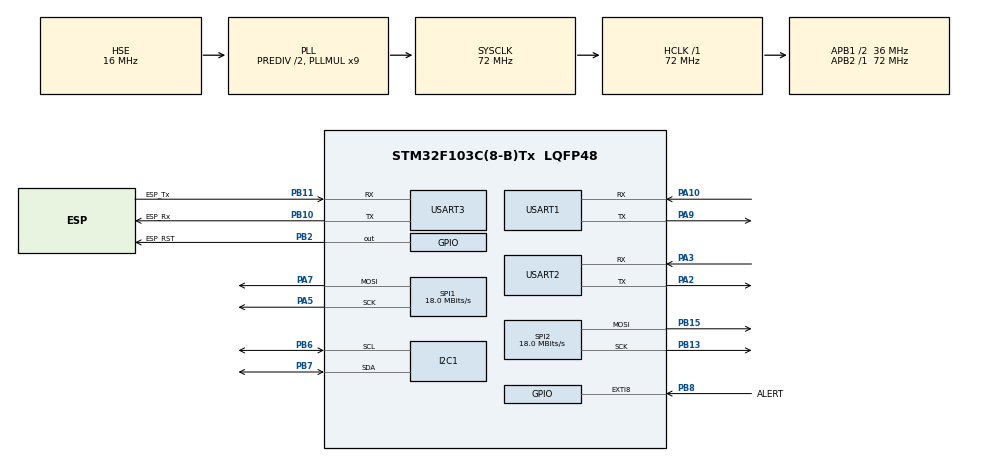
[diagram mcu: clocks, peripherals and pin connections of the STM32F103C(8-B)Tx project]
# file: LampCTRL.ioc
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Dma.Request0=USART3_RX
Dma.Request1=USART3_TX
Dma.Request2=USART2_RX
Dma.Request3=USART1_RX
Dma.USART1_RX.3.Direction=DMA_PERIPH_TO_MEMORY
Dma.USART1_RX.3.Instance=DMA1_Channel5
Dma.USART1_RX.3.MemDataAlignment=DMA_MDATAALIGN_BYTE
Dma.USART1_RX.3.MemInc=DMA_MINC_ENABLE
Dma.USART1_RX.3.Mode=DMA_CIRCULAR
Dma.USART1_RX.3.PeriphDataAlignment=DMA_PDATAALIGN_BYTE
Dma.USART1_RX.3.PeriphInc=DMA_PINC_DISABLE
Dma.USART1_RX.3.Priority=DMA_PRIORITY_LOW
Dma.USART2_RX.2.Direction=DMA_PERIPH_TO_MEMORY
Dma.USART2_RX.2.Instance=DMA1_Channel6
Dma.USART2_RX.2.MemDataAlignment=DMA_MDATAALIGN_BYTE
Dma.USART2_RX.2.MemInc=DMA_MINC_ENABLE
Dma.USART2_RX.2.Mode=DMA_NORMAL
Dma.USART2_RX.2.PeriphDataAlignment=DMA_PDATAALIGN_BYTE
Dma.USART2_RX.2.PeriphInc=DMA_PINC_DISABLE
Dma.USART2_RX.2.Priority=DMA_PRIORITY_LOW
Dma.USART3_RX.0.Direction=DMA_PERIPH_TO_MEMORY
Dma.USART3_RX.0.Instance=DMA1_Channel3
Dma.USART3_RX.0.MemDataAlignment=DMA_MDATAALIGN_BYTE
Dma.USART3_RX.0.MemInc=DMA_MINC_ENABLE
Dma.USART3_RX.0.Mode=DMA_NORMAL
Dma.USART3_RX.0.PeriphDataAlignment=DMA_PDATAALIGN_BYTE
Dma.USART3_RX.0.PeriphInc=DMA_PINC_DISABLE
Dma.USART3_RX.0.Priority=DMA_PRIORITY_LOW
Dma.USART3_TX.1.Direction=DMA_MEMORY_TO_PERIPH
Dma.USART3_TX.1.Instance=DMA1_Channel2
Dma.USART3_TX.1.MemDataAlignment=DMA_MDATAALIGN_BYTE
Dma.USART3_TX.1.MemInc=DMA_MINC_ENABLE
Dma.USART3_TX.1.Mode=DMA_NORMAL
Dma.USART3_TX.1.PeriphDataAlignment=DMA_PDATAALIGN_BYTE
Dma.USART3_TX.1.PeriphInc=DMA_PINC_DISABLE
Dma.USART3_TX.1.Priority=DMA_PRIORITY_LOW
I2C1.I2C_Mode=I2C_Fast
Mcu.Family=STM32F1
Mcu.Name=STM32F103C(8-B)Tx
Mcu.Package=LQFP48
NVIC.DMA1_Channel2_IRQn=true\:0\:0\:false\:false\:true\:false\:true\:true
NVIC.DMA1_Channel3_IRQn=true\:0\:0\:false\:false\:true\:false\:true\:true
NVIC.DMA1_Channel5_IRQn=true\:0\:0\:false\:false\:true\:false\:true\:true
NVIC.DMA1_Channel6_IRQn=true\:0\:0\:false\:false\:true\:false\:true\:true
NVIC.EXTI9_5_IRQn=true\:0\:0\:false\:false\:true\:true\:true\:true
NVIC.PriorityGroup=NVIC_PRIORITYGROUP_4
NVIC.TIM2_IRQn=true\:0\:0\:false\:false\:true\:true\:true\:true
NVIC.TIM3_IRQn=true\:0\:0\:false\:false\:true\:true\:true\:true
NVIC.USART1_IRQn=true\:0\:0\:false\:false\:true\:true\:true\:true
NVIC.USART2_IRQn=true\:0\:0\:false\:false\:true\:true\:true\:true
NVIC.USART3_IRQn=true\:0\:0\:false\:false\:true\:true\:true\:true
PA10.Mode=Asynchronous
PA10.Signal=USART1_RX
PA13.Mode=Trace_Asynchronous_SW
PA13.Signal=SYS_JTMS-SWDIO
PA14.Mode=Trace_Asynchronous_SW
PA14.Signal=SYS_JTCK-SWCLK
PA2.Mode=Asynchronous
PA2.Signal=USART2_TX
PA3.Mode=Asynchronous
PA3.Signal=USART2_RX
PA5.Mode=TX_Only_Simplex_Unidirect_Master
PA5.Signal=SPI1_SCK
PA7.Mode=TX_Only_Simplex_Unidirect_Master
PA7.Signal=SPI1_MOSI
PA9.Mode=Asynchronous
PA9.Signal=USART1_TX
PB10.GPIO_Label=ESP_Rx
PB10.Mode=Asynchronous
PB10.Signal=USART3_TX
PB11.GPIO_Label=ESP_Tx
PB11.Mode=Asynchronous
PB11.Signal=USART3_RX
PB13.Mode=TX_Only_Simplex_Unidirect_Master
PB13.Signal=SPI2_SCK
PB15.Mode=TX_Only_Simplex_Unidirect_Master
PB15.Signal=SPI2_MOSI
PB2.GPIO_Label=ESP_RST
PB2.Signal=GPIO_Output
PB3.Mode=Trace_Asynchronous_SW
PB3.Signal=SYS_JTDO-TRACESWO
PB6.Mode=I2C
PB6.Signal=I2C1_SCL
PB7.Mode=I2C
PB7.Signal=I2C1_SDA
PB8.GPIO_Label=ALERT
PB8.GPIO_PuPd=GPIO_PULLUP
PB8.Signal=GPXTI8
PD0-OSC_IN.Mode=HSE-External-Oscillator
PD0-OSC_IN.Signal=RCC_OSC_IN
PD1-OSC_OUT.Mode=HSE-External-Oscillator
PD1-OSC_OUT.Signal=RCC_OSC_OUT
ProjectManager.HeapSize=0x200
ProjectManager.StackSize=0x400
ProjectManager.TargetToolchain=MDK-ARM V5.32
RCC.AHBFreq_Value=72000000
RCC.APB1CLKDivider=RCC_HCLK_DIV2
RCC.APB1Freq_Value=36000000
RCC.APB1TimFreq_Value=72000000
RCC.APB2Freq_Value=72000000
RCC.APB2TimFreq_Value=72000000
RCC.HCLKFreq_Value=72000000
RCC.HSEDivPLL=RCC_HSE_PREDIV_DIV2
RCC.HSE_VALUE=16000000
RCC.PLLMUL=RCC_PLL_MUL9
RCC.PLLSourceVirtual=RCC_PLLSOURCE_HSE
RCC.SYSCLKFreq_VALUE=72000000
RCC.SYSCLKSource=RCC_SYSCLKSOURCE_PLLCLK
RCC.USBFreq_Value=72000000
SPI1.BaudRatePrescaler=SPI_BAUDRATEPRESCALER_4
SPI1.CalculateBaudRate=18.0 MBits/s
SPI1.Direction=SPI_DIRECTION_2LINES
SPI1.Mode=SPI_MODE_MASTER
SPI1.VirtualType=VM_MASTER
SPI2.BaudRatePrescaler=SPI_BAUDRATEPRESCALER_2
SPI2.CalculateBaudRate=18.0 MBits/s
SPI2.Direction=SPI_DIRECTION_2LINES
SPI2.Mode=SPI_MODE_MASTER
SPI2.VirtualType=VM_MASTER
TIM2.Period=9999
TIM2.Prescaler=7199
TIM3.ClockDivision=TIM_CLOCKDIVISION_DIV1
TIM3.Period=9999
TIM3.Prescaler=7199
USART1.VirtualMode=VM_ASYNC
USART2.VirtualMode=VM_ASYNC
USART3.VirtualMode=VM_ASYNC
VP_TIM2_VS_ClockSourceINT.Mode=Internal
VP_TIM3_VS_ClockSourceINT.Mode=Internal
board=custom

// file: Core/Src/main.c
/* USER CODE BEGIN Header */
/**
  ******************************************************************************
  * @file           : main.c
  * @brief          : Main program body
  ******************************************************************************
  * @attention
  *
  * Copyright (c) 2022 STMicroelectronics.
  * All rights reserved.
  *
  * This software is licensed under terms that can be found in the LICENSE file
  * in the root directory of this software component.
  * If no LICENSE file comes with this software, it is provided AS-IS.
  *
  ******************************************************************************
  */
/* USER CODE END Header */
#include "main.h"
#include "dma.h"
#include "i2c.h"
#include "spi.h"
#include "tim.h"
#include "usart.h"
#include "gpio.h"

/* USER CODE BEGIN Includes */
//#include <stdio.h>
#include <string.h>
#include "APA102.h"
#include "INA260.h"
/* USER CODE END Includes */

/* USER CODE BEGIN PV */

extern uint8_t rxL[SEN_rxSize];//Left Sensor receive buffer
extern uint8_t rxR[SEN_rxSize];//Right Sensor receive buffer
extern uint8_t rxE[ESP_rxSize];//ESP receive buffer
extern volatile uint8_t LC_Ready, RC_Ready, ESP_Ready;
volatile uint8_t timeToRead, timeToSend;
extern uint8_t effectDone;
const uint16_t effectDuration = 1000;
//0 volts, 1 amps, 2 wats, 3 energy;
float measures[4];
uint8_t valToSend[txLen];
uint8_t cnt, prevPower, prevGain, prevBright;
//uint32_t tL, tR, tL1, tR1;

//#define TIME_OUT					500
/* USER CODE END PV */

void SystemClock_Config(void);

/* USER CODE BEGIN 0 */
void HAL_TIM_PeriodElapsedCallback(TIM_HandleTypeDef* htim)
{
	if(htim->Instance==TIM2) {
		timeToRead = 1;
	} else if(htim->Instance==TIM3){
		timeToSend = 1;
  }
}

static void UpdateAPA(){
	// Update only if we have new data from ESP
	if(prevPower && ESP_Ready){
	//Set color from OpenHab interface when frame_MQTT[Effect] is 0
		if(!frame_MQTT[Effect]){
			APA_setAllColor(frame_MQTT[LeftRed], frame_MQTT[LeftGreen], frame_MQTT[LeftBlue]);
			APA_update(0);
			APA_setAllColor(frame_MQTT[RightRed], frame_MQTT[RightGreen], frame_MQTT[RightBlue]);
			APA_update(1);
		}
		//Set up LED brightness and sensor gain
		if(prevBright != frame_MQTT[Intensity]){
			prevBright = frame_MQTT[Intensity];
			APA_setAllBrightness(prevBright);
		}
		if(prevGain != frame_MQTT[Gain]){
			prevGain = frame_MQTT[Gain];
			uint8_t sendGain[3] = {sMarker, prevGain, eMarker};
			HAL_UART_Transmit(&huart1, sendGain, 3, TIME_OUT);
			HAL_UART_Transmit(&huart2, sendGain, 3, TIME_OUT);
		}
		ESP_Ready = 0;
	}
}

/* USER CODE END 0 */

int main(void)
{

  /* MCU Configuration--------------------------------------------------------*/

  /* Reset of all peripherals, Initializes the Flash interface and the Systick. */
  HAL_Init();

  /* Configure the system clock */
  SystemClock_Config();

  /* Initialize all configured peripherals */
  MX_GPIO_Init();
  MX_DMA_Init();
  MX_SPI1_Init();
  MX_SPI2_Init();
  MX_USART1_UART_Init();
  MX_USART2_UART_Init();
  MX_I2C1_Init();
  MX_USART3_UART_Init();
  MX_TIM2_Init();
  MX_TIM3_Init();
  /* USER CODE BEGIN 2 */
	HAL_Delay(10000);
//	frame_MQTT[Power] = 1;
//	frame_MQTT[Mode] = 0;
//	frame_MQTT[Effect] = 1;
	__HAL_UART_FLUSH_DRREGISTER(&huart3);
  valToSend[0] = 60;
  valToSend[17] = 62;
  ina260_start();
//	if(ina260_ready() == HAL_OK){
//		printf("INA ready in %d!!!\r\n", HAL_GetTick()-time);
//	}
  HAL_TIM_Base_Start_IT(&htim2);
  HAL_TIM_Base_Start_IT(&htim3);
  APA_init();

  //tL = tR = HAL_GetTick();
  prevPower = prevGain = prevBright = 0;
  //Wait for ESP8266 to connect to WiFi and MQTT server
  //When done it will send the data stored in EEPROM
//  while (!ESP_Ready){
//		HAL_Delay(10);
//  }
  /* USER CODE END 2 */

  /* Infinite loop */
  /* USER CODE BEGIN WHILE */
  while (1)
  {
		//The Power state has changed
		if(prevPower != frame_MQTT[Power]){
			prevPower = frame_MQTT[Power];
			//The power is OFF
			if(!prevPower){
				APA_AllOff();
				ESP_Ready = 0;
				//Stop DMAs to save power?
			}
		}
		if(frame_MQTT[Power]){
				//If Power is ON
				// We are in sensor mode
				if(frame_MQTT[Mode]){
					//We have data from left/Right side sensor
					//0, 1, 2 Top Sensor - near debug interface
					//6, 7, 8 Bottom Sensor - near case wall
						if(LC_Ready){
							//tL = HAL_GetTick() - tL1;
							for(cnt = 0; cnt < FirstThird; cnt++){
								APA_setColor(cnt, rxL[0], rxL[1], rxL[2]);
								APA_setColor(cnt + FirstThird, rxL[3], rxL[4], rxL[5]);
								APA_setColor(cnt + SecondThird, rxL[6], rxL[7], rxL[8]);
							}
							APA_update(0);
							LC_Ready = 0;
							//tL1 = HAL_GetTick();
						}
						if(RC_Ready){
						//tr = HAL_GetTick() - tR1;
							for(cnt = 0; cnt < FirstThird; cnt++){
								APA_setColor(cnt, rxR[0], rxR[1], rxR[2]);
								APA_setColor(cnt + FirstThird, rxR[3], rxR[4], rxR[5]);
								APA_setColor(cnt + SecondThird, rxR[6], rxR[7], rxR[8]);
							}
							APA_update(1);
							RC_Ready = 0;
							//tR1 = HAL_GetTick();
						}
				} else {
					// Run lights effects
					if(frame_MQTT[Effect]){
						//If an effect was completed
						if(effectDone){
							//We start a new one
							effectDone = 0;
							switch(frame_MQTT[Effect]){
								case 1:
									FluidRainbowCycle(effectDuration);
								break;
								case 2:
									SnowEffect(50);
								break;
								case 3:
									PulseEffect(effectDuration);
								break;
								case 4:
									FlashingEffect(effectDuration);
								break;
								case 5:
									FadingEffect(effectDuration);
								break;
								case 6:
									ColorWipe(effectDuration);
								break;
								case 7:
									TheaterChase(frame_MQTT[LeftRed], frame_MQTT[LeftGreen], frame_MQTT[LeftBlue], effectDuration);
								break;
								case 8:
									BreathEffect(effectDuration);
								break;
								case 9:
									WaveEffect(effectDuration);
								break;
							}
						}
					}
				}
			}
		// We have data from ESP (MQTT)
		UpdateAPA();

		//End of APA stuff / Begin of INA260

		// Read INA260 power values
		if(timeToRead){
			if(ina260_conversion_ready()){
				ina260_get_voltage(&measures[0]);
				ina260_get_current(&measures[1]);
				ina260_get_power(&measures[2]);
				//Transform Power to Energy
				measures[3] += measures[2] * sHour;
				timeToRead = 0;
			}
		}
		//Send energy measurements to ESP to be displayed in OpenHab
		//Send the values every 30s to avoid loading Zigbee network
		if(timeToSend){
			//4x floats = 16bytes
			memcpy(valToSend+1, measures, 16);
			HAL_UART_Transmit_DMA(&huart3, (uint8_t *)&valToSend, txLen);
			timeToSend = 0;
		}

    /* USER CODE END WHILE */

  }
}

void SystemClock_Config(void)
{
  RCC_OscInitTypeDef RCC_OscInitStruct = {0};
  RCC_ClkInitTypeDef RCC_ClkInitStruct = {0};

  /** Initializes the RCC Oscillators according to the specified parameters
  * in the RCC_OscInitTypeDef structure.
  */
  RCC_OscInitStruct.OscillatorType = RCC_OSCILLATORTYPE_HSE;
  RCC_OscInitStruct.HSEState = RCC_HSE_ON;
  RCC_OscInitStruct.HSEPredivValue = RCC_HSE_PREDIV_DIV2;
  RCC_OscInitStruct.HSIState = RCC_HSI_ON;
  RCC_OscInitStruct.PLL.PLLState = RCC_PLL_ON;
  RCC_OscInitStruct.PLL.PLLSource = RCC_PLLSOURCE_HSE;
  RCC_OscInitStruct.PLL.PLLMUL = RCC_PLL_MUL9;
  if (HAL_RCC_OscConfig(&RCC_OscInitStruct) != HAL_OK)
  {
    Error_Handler();
  }

  /** Initializes the CPU, AHB and APB buses clocks
  */
  RCC_ClkInitStruct.ClockType = RCC_CLOCKTYPE_HCLK|RCC_CLOCKTYPE_SYSCLK
                              |RCC_CLOCKTYPE_PCLK1|RCC_CLOCKTYPE_PCLK2;
  RCC_ClkInitStruct.SYSCLKSource = RCC_SYSCLKSOURCE_PLLCLK;
  RCC_ClkInitStruct.AHBCLKDivider = RCC_SYSCLK_DIV1;
  RCC_ClkInitStruct.APB1CLKDivider = RCC_HCLK_DIV2;
  RCC_ClkInitStruct.APB2CLKDivider = RCC_HCLK_DIV1;

  if (HAL_RCC_ClockConfig(&RCC_ClkInitStruct, FLASH_LATENCY_2) != HAL_OK)
  {
    Error_Handler();
  }
}

void Error_Handler(void)
{
  __disable_irq();
  while (1)
  {
  }
}
